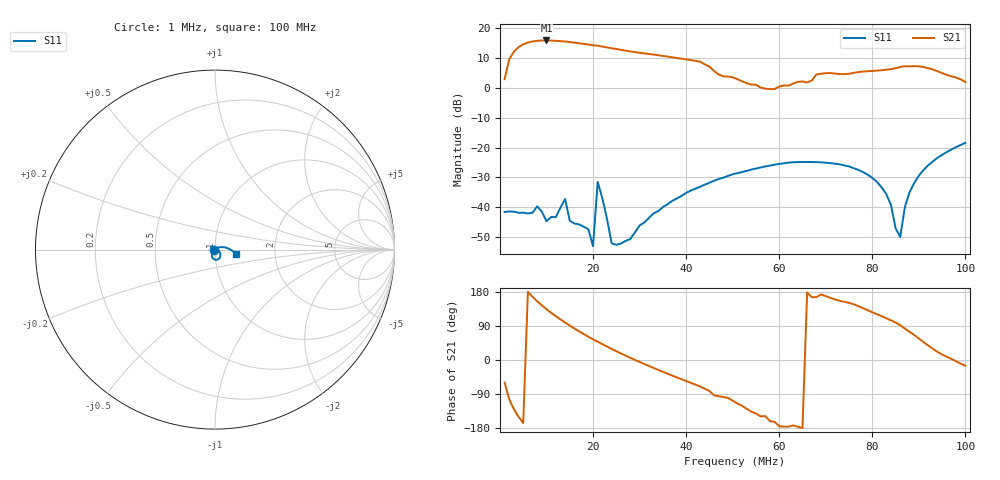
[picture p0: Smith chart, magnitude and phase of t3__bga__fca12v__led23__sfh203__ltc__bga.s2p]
# HZ S RI R 50
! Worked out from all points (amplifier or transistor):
!   100 points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, 1 MHz to 100 MHz, reference 50 ohm
!   highest |S21| = 15.9 dB at 10 MHz (marker M1)
!   |S21| within 3 dB of that: 3.494 MHz to 25.47 MHz (21.98 MHz wide, 152 % of centre)
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1000001  -0.0083 0.000237  0.7162 -1.211  0 0  0 0
2000001  -0.00842 0.000595  -0.716 -2.933  0 0  0 0
3000001  -0.0084 -0.000246  -2.638 -3.117  0 0  0 0
5000001  -0.00802 0.000953  -5.243 -1.281  0 0  0 0
7000001  -0.00792 0.00147  -5.875 1.391  0 0  0 0
1e7  -0.00559 0.00157  -4.359 4.511  0 0  0 0
1.4e7  -0.0133 0.00351  -0.9354 5.953  0 0  0 0
1.8e7  -0.0043 0.00186  2.015 5.109  0 0  0 0
2e7  -0.00101 0.00197  3.017 4.248  0 0  0 0
2.1e7  -0.022 0.0147  3.411 3.834  0 0  0 0
2.5e7  -0.000316 0.00231  4.142 1.772  0 0  0 0
3.4e7  0.00852 0.000943  3.182 -1.554  0 0  0 0
4.3e7  0.0207 -0.00714  0.9587 -2.595  0 0  0 0
4.6e7  0.0249 -0.0122  -0.1066 -1.927  0 0  0 0
5.1e7  0.0293 -0.023  -0.5827 -1.277  0 0  0 0
6.7e7  0.00777 -0.0566  -1.293 0.3327  0 0  0 0
6.9e7  0.00253 -0.0564  -1.72 0.2098  0 0  0 0
7.7e7  -0.0166 -0.0389  -1.461 1.133  0 0  0 0
8.4e7  -0.00854 -0.00686  -0.5239 2.002  0 0  0 0
8.6e7  0.00149 0.00278  -0.0743 2.247  0 0  0 0
9.2e7  0.0485 0.0134  1.688 1.337  0 0  0 0
1e8  0.1173 -0.0261  1.215 -0.326  0 0  0 0
